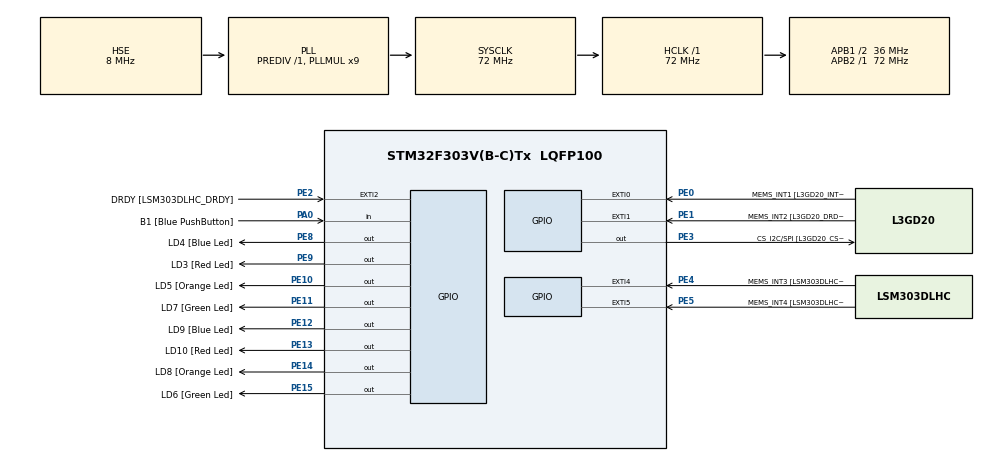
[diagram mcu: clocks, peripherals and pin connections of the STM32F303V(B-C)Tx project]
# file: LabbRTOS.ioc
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FREERTOS.Tasks01=defaultTask,0,128,StartDefaultTask,Default,NULL,Dynamic,NULL,NULL;Blink1,0,128,startBlink1,Default,NULL,Dynamic,NULL,NULL;Blink2,0,128,startBlink2,Default,NULL,Dynamic,NULL,NULL;Trigger,0,128,StartTrigger,Default,NULL,Dynamic,NULL,NULL
FREERTOS.configTOTAL_HEAP_SIZE=10240
Mcu.Family=STM32F3
Mcu.Name=STM32F303V(B-C)Tx
Mcu.Package=LQFP100
NVIC.PriorityGroup=NVIC_PRIORITYGROUP_4
NVIC.TIM1_UP_TIM16_IRQn=true\:0\:0\:false\:false\:true\:false\:false
NVIC.TimeBase=TIM1_UP_TIM16_IRQn
NVIC.TimeBaseIP=TIM1
PA0.GPIO_Label=B1 [Blue PushButton]
PA0.GPIO_Mode=GPIO_MODE_INPUT
PA0.GPIO_PuPd=GPIO_NOPULL
PA0.Signal=GPIO_Input
PA11.GPIO_Label=DM
PA11.Signal=USB_DM
PA12.GPIO_Label=DP
PA12.Signal=USB_DP
PA13.GPIO_Label=SWDIO
PA13.Signal=SYS_JTMS-SWDIO
PA14.GPIO_Label=SWCLK
PA14.Signal=SYS_JTCK-SWCLK
PA5.GPIO_Label=SPI1_SCK [L3GD20_SCL/SPC]
PA5.GPIO_Mode=GPIO_MODE_AF_PP
PA5.GPIO_PuPd=GPIO_NOPULL
PA5.GPIO_Speed=GPIO_SPEED_FREQ_LOW
PA5.Signal=SPI1_SCK
PA6.GPIO_Label=SPI1_MISO [L3GD20_SA0/SDO]
PA6.GPIO_Mode=GPIO_MODE_AF_PP
PA6.GPIO_PuPd=GPIO_NOPULL
PA6.GPIO_Speed=GPIO_SPEED_FREQ_LOW
PA6.Signal=SPI1_MISO
PA7.GPIO_Label=SPI1_MISO [L3GD20_SDA/SDI/SDO]
PA7.GPIO_Mode=GPIO_MODE_AF_PP
PA7.GPIO_PuPd=GPIO_NOPULL
PA7.GPIO_Speed=GPIO_SPEED_FREQ_LOW
PA7.Signal=SPI1_MOSI
PB3.GPIO_Label=SWO
PB3.Signal=SYS_JTDO-TRACESWO
PB6.GPIO_FM6=__NULL
PB6.GPIO_Label=I2C1_SCL [LSM303DLHC_SCL]
PB6.GPIO_Mode=GPIO_MODE_AF_OD
PB6.GPIO_PuPd=GPIO_NOPULL
PB6.GPIO_Speed=GPIO_SPEED_FREQ_LOW
PB6.Signal=I2C1_SCL
PB7.GPIO_FM7=__NULL
PB7.GPIO_Label=I2C1_SDA [LSM303DLHC_SDA]
PB7.GPIO_Mode=GPIO_MODE_AF_OD
PB7.GPIO_PuPd=GPIO_NOPULL
PB7.GPIO_Speed=GPIO_SPEED_FREQ_LOW
PB7.Signal=I2C1_SDA
PC14-OSC32_IN.GPIO_Label=OSC32_IN
PC14-OSC32_IN.Signal=RCC_OSC32_IN
PC15-OSC32_OUT.GPIO_Label=OSC32_OUT
PC15-OSC32_OUT.Signal=RCC_OSC32_OUT
PE0.GPIO_Label=MEMS_INT1 [L3GD20_INT1]
PE0.GPIO_ModeDefaultEXTI=GPIO_MODE_EVT_RISING
PE0.GPIO_PuPd=GPIO_NOPULL
PE0.Signal=GPXTI0
PE1.GPIO_Label=MEMS_INT2 [L3GD20_DRDY/INT2]
PE1.GPIO_ModeDefaultEXTI=GPIO_MODE_EVT_RISING
PE1.GPIO_PuPd=GPIO_NOPULL
PE1.Signal=GPXTI1
PE10.GPIO_Label=LD5 [Orange Led]
PE10.GPIO_ModeDefaultOutputPP=GPIO_MODE_OUTPUT_PP
PE10.GPIO_PuPd=GPIO_NOPULL
PE10.GPIO_Speed=GPIO_SPEED_FREQ_LOW
PE10.Signal=GPIO_Output
PE11.GPIO_Label=LD7 [Green Led]
PE11.GPIO_ModeDefaultOutputPP=GPIO_MODE_OUTPUT_PP
PE11.GPIO_PuPd=GPIO_NOPULL
PE11.GPIO_Speed=GPIO_SPEED_FREQ_LOW
PE11.Signal=GPIO_Output
PE12.GPIO_Label=LD9 [Blue Led]
PE12.GPIO_ModeDefaultOutputPP=GPIO_MODE_OUTPUT_PP
PE12.GPIO_PuPd=GPIO_NOPULL
PE12.GPIO_Speed=GPIO_SPEED_FREQ_LOW
PE12.Signal=GPIO_Output
PE13.GPIO_Label=LD10 [Red Led]
PE13.GPIO_ModeDefaultOutputPP=GPIO_MODE_OUTPUT_PP
PE13.GPIO_PuPd=GPIO_NOPULL
PE13.GPIO_Speed=GPIO_SPEED_FREQ_LOW
PE13.Signal=GPIO_Output
PE14.GPIO_Label=LD8 [Orange Led]
PE14.GPIO_ModeDefaultOutputPP=GPIO_MODE_OUTPUT_PP
PE14.GPIO_PuPd=GPIO_NOPULL
PE14.GPIO_Speed=GPIO_SPEED_FREQ_LOW
PE14.Signal=GPIO_Output
PE15.GPIO_Label=LD6 [Green Led]
PE15.GPIO_ModeDefaultOutputPP=GPIO_MODE_OUTPUT_PP
PE15.GPIO_PuPd=GPIO_NOPULL
PE15.GPIO_Speed=GPIO_SPEED_FREQ_LOW
PE15.Signal=GPIO_Output
PE2.GPIO_Label=DRDY [LSM303DLHC_DRDY]
PE2.GPIO_ModeDefaultEXTI=GPIO_MODE_EVT_RISING
PE2.GPIO_PuPd=GPIO_NOPULL
PE2.Signal=GPXTI2
PE3.GPIO_Label=CS_I2C/SPI [L3GD20_CS_I2C/SPI]
PE3.GPIO_ModeDefaultOutputPP=GPIO_MODE_OUTPUT_PP
PE3.GPIO_PuPd=GPIO_NOPULL
PE3.GPIO_Speed=GPIO_SPEED_FREQ_LOW
PE3.Signal=GPIO_Output
PE4.GPIO_Label=MEMS_INT3 [LSM303DLHC_INT1]
PE4.GPIO_ModeDefaultEXTI=GPIO_MODE_EVT_RISING
PE4.GPIO_PuPd=GPIO_NOPULL
PE4.Signal=GPXTI4
PE5.GPIO_Label=MEMS_INT4 [LSM303DLHC_INT2]
PE5.GPIO_ModeDefaultEXTI=GPIO_MODE_EVT_RISING
PE5.GPIO_PuPd=GPIO_NOPULL
PE5.Signal=GPXTI5
PE8.GPIO_Label=LD4 [Blue Led]
PE8.GPIO_ModeDefaultOutputPP=GPIO_MODE_OUTPUT_PP
PE8.GPIO_PuPd=GPIO_NOPULL
PE8.GPIO_Speed=GPIO_SPEED_FREQ_LOW
PE8.Signal=GPIO_Output
PE9.GPIO_Label=LD3 [Red Led]
PE9.GPIO_ModeDefaultOutputPP=GPIO_MODE_OUTPUT_PP
PE9.GPIO_PuPd=GPIO_NOPULL
PE9.GPIO_Speed=GPIO_SPEED_FREQ_LOW
PE9.Signal=GPIO_Output
PF0-OSC_IN.GPIO_Label=OSC_IN
PF0-OSC_IN.Mode=HSE-External-Oscillator
PF0-OSC_IN.Signal=RCC_OSC_IN
PF1-OSC_OUT.GPIO_Label=OSC_OUT
PF1-OSC_OUT.Mode=HSE-External-Oscillator
PF1-OSC_OUT.Signal=RCC_OSC_OUT
ProjectManager.HeapSize=0x200
ProjectManager.StackSize=0x400
ProjectManager.TargetToolchain=EWARM
RCC.AHBFreq_Value=72000000
RCC.APB1CLKDivider=RCC_HCLK_DIV2
RCC.APB1Freq_Value=36000000
RCC.APB1TimFreq_Value=72000000
RCC.APB2Freq_Value=72000000
RCC.APB2TimFreq_Value=72000000
RCC.CortexFreq_Value=72000000
RCC.HCLKFreq_Value=72000000
RCC.HSE_VALUE=8000000
RCC.HSI_VALUE=8000000
RCC.LSE_VALUE=32768
RCC.PLLMUL=RCC_PLL_MUL9
RCC.PLLSourceVirtual=RCC_PLLSOURCE_HSE
RCC.SYSCLKFreq_VALUE=72000000
RCC.SYSCLKSourceVirtual=RCC_SYSCLKSOURCE_PLLCLK
RCC.USBFreq_Value=72000000
VP_FREERTOS_VS_ENABLE.Mode=Enabled
VP_SYS_VS_tim1.Mode=TIM1
board=STM32F3DISCOVERY

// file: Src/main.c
/**
  ******************************************************************************
  * File Name          : main.c
  * Description        : Main program body
  ******************************************************************************
  * This notice applies to any and all portions of this file
  * that are not between comment pairs USER CODE BEGIN and
  * USER CODE END. Other portions of this file, whether
  * inserted by the user or by software development tools
  * are owned by their respective copyright owners.
  *
  * Copyright (c) 2018 STMicroelectronics International N.V.
  * All rights reserved.
  *
  * Redistribution and use in source and binary forms, with or without
  * modification, are permitted, provided that the following conditions are met:
  *
  * 1. Redistribution of source code must retain the above copyright notice,
  *    this list of conditions and the following disclaimer.
  * 2. Redistributions in binary form must reproduce the above copyright notice,
  *    this list of conditions and the following disclaimer in the documentation
  *    and/or other materials provided with the distribution.
  * 3. Neither the name of STMicroelectronics nor the names of other
  *    contributors to this software may be used to endorse or promote products
  *    derived from this software without specific written permission.
  * 4. This software, including modifications and/or derivative works of this
  *    software, must execute solely and exclusively on microcontroller or
  *    microprocessor devices manufactured by or for STMicroelectronics.
  * 5. Redistribution and use of this software other than as permitted under
  *    this license is void and will automatically terminate your rights under
  *    this license.
  *
  * THIS SOFTWARE IS PROVIDED BY STMICROELECTRONICS AND CONTRIBUTORS "AS IS"
  * AND ANY EXPRESS, IMPLIED OR STATUTORY WARRANTIES, INCLUDING, BUT NOT
  * LIMITED TO, THE IMPLIED WARRANTIES OF MERCHANTABILITY, FITNESS FOR A
  * PARTICULAR PURPOSE AND NON-INFRINGEMENT OF THIRD PARTY INTELLECTUAL PROPERTY
  * RIGHTS ARE DISCLAIMED TO THE FULLEST EXTENT PERMITTED BY LAW. IN NO EVENT
  * SHALL STMICROELECTRONICS OR CONTRIBUTORS BE LIABLE FOR ANY DIRECT, INDIRECT,
  * INCIDENTAL, SPECIAL, EXEMPLARY, OR CONSEQUENTIAL DAMAGES (INCLUDING, BUT NOT
  * LIMITED TO, PROCUREMENT OF SUBSTITUTE GOODS OR SERVICES; LOSS OF USE, DATA,
  * OR PROFITS; OR BUSINESS INTERRUPTION) HOWEVER CAUSED AND ON ANY THEORY OF
  * LIABILITY, WHETHER IN CONTRACT, STRICT LIABILITY, OR TORT (INCLUDING
  * NEGLIGENCE OR OTHERWISE) ARISING IN ANY WAY OUT OF THE USE OF THIS SOFTWARE,
  * EVEN IF ADVISED OF THE POSSIBILITY OF SUCH DAMAGE.
  *
  ******************************************************************************
  */

#include "main.h"
#include "stm32f3xx_hal.h"
#include "cmsis_os.h"
#include "gpio.h"

/* USER CODE BEGIN PV */
/* Private variables ---------------------------------------------------------*/

/* USER CODE END PV */

void SystemClock_Config(void);
void MX_FREERTOS_Init(void);

/* USER CODE BEGIN PFP */
/* Private function prototypes -----------------------------------------------*/

/* USER CODE END PFP */

int main(void)
{

  /* MCU Configuration----------------------------------------------------------*/

  /* Reset of all peripherals, Initializes the Flash interface and the Systick. */
  HAL_Init();

  /* Configure the system clock */
  SystemClock_Config();

  /* Initialize all configured peripherals */
  MX_GPIO_Init();

  /* Call init function for freertos objects (in freertos.c) */
  MX_FREERTOS_Init();

  /* Start scheduler */
  osKernelStart();

  /* We should never get here as control is now taken by the scheduler */

  /* Infinite loop */
  while (1)
  {

  }

}

/** System Clock Configuration
*/
void SystemClock_Config(void)
{

  RCC_OscInitTypeDef RCC_OscInitStruct;
  RCC_ClkInitTypeDef RCC_ClkInitStruct;

    /**Initializes the CPU, AHB and APB busses clocks
    */
  RCC_OscInitStruct.OscillatorType = RCC_OSCILLATORTYPE_HSE;
  RCC_OscInitStruct.HSEState = RCC_HSE_ON;
  RCC_OscInitStruct.HSEPredivValue = RCC_HSE_PREDIV_DIV1;
  RCC_OscInitStruct.HSIState = RCC_HSI_ON;
  RCC_OscInitStruct.PLL.PLLState = RCC_PLL_ON;
  RCC_OscInitStruct.PLL.PLLSource = RCC_PLLSOURCE_HSE;
  RCC_OscInitStruct.PLL.PLLMUL = RCC_PLL_MUL9;
  if (HAL_RCC_OscConfig(&RCC_OscInitStruct) != HAL_OK)
  {
    _Error_Handler(__FILE__, __LINE__);
  }

    /**Initializes the CPU, AHB and APB busses clocks
    */
  RCC_ClkInitStruct.ClockType = RCC_CLOCKTYPE_HCLK|RCC_CLOCKTYPE_SYSCLK
                              |RCC_CLOCKTYPE_PCLK1|RCC_CLOCKTYPE_PCLK2;
  RCC_ClkInitStruct.SYSCLKSource = RCC_SYSCLKSOURCE_PLLCLK;
  RCC_ClkInitStruct.AHBCLKDivider = RCC_SYSCLK_DIV1;
  RCC_ClkInitStruct.APB1CLKDivider = RCC_HCLK_DIV2;
  RCC_ClkInitStruct.APB2CLKDivider = RCC_HCLK_DIV1;

  if (HAL_RCC_ClockConfig(&RCC_ClkInitStruct, FLASH_LATENCY_2) != HAL_OK)
  {
    _Error_Handler(__FILE__, __LINE__);
  }

    /**Configure the Systick interrupt time
    */
  HAL_SYSTICK_Config(HAL_RCC_GetHCLKFreq()/1000);

    /**Configure the Systick
    */
  HAL_SYSTICK_CLKSourceConfig(SYSTICK_CLKSOURCE_HCLK);

  /* SysTick_IRQn interrupt configuration */
  HAL_NVIC_SetPriority(SysTick_IRQn, 15, 0);
}

void HAL_TIM_PeriodElapsedCallback(TIM_HandleTypeDef *htim)
{
  if (htim->Instance == TIM1) {
    HAL_IncTick();
  }
}

void _Error_Handler(char * file, int line)
{
  while(1)
  {
  }
}

/************************ (C) COPYRIGHT STMicroelectronics *****END OF FILE****/

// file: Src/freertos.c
/**
******************************************************************************
* File Name          : freertos.c
* Description        : Code for freertos applications
******************************************************************************
* This notice applies to any and all portions of this file
* that are not between comment pairs USER CODE BEGIN and
* USER CODE END. Other portions of this file, whether
* inserted by the user or by software development tools
* are owned by their respective copyright owners.
*
* Copyright (c) 2018 STMicroelectronics International N.V.
* All rights reserved.
*
* Redistribution and use in source and binary forms, with or without
* modification, are permitted, provided that the following conditions are met:
*
* 1. Redistribution of source code must retain the above copyright notice,
*    this list of conditions and the following disclaimer.
* 2. Redistributions in binary form must reproduce the above copyright notice,
*    this list of conditions and the following disclaimer in the documentation
*    and/or other materials provided with the distribution.
* 3. Neither the name of STMicroelectronics nor the names of other
*    contributors to this software may be used to endorse or promote products
*    derived from this software without specific written permission.
* 4. This software, including modifications and/or derivative works of this
*    software, must execute solely and exclusively on microcontroller or
*    microprocessor devices manufactured by or for STMicroelectronics.
* 5. Redistribution and use of this software other than as permitted under
*    this license is void and will automatically terminate your rights under
*    this license.
*
* THIS SOFTWARE IS PROVIDED BY STMICROELECTRONICS AND CONTRIBUTORS "AS IS"
* AND ANY EXPRESS, IMPLIED OR STATUTORY WARRANTIES, INCLUDING, BUT NOT
* LIMITED TO, THE IMPLIED WARRANTIES OF MERCHANTABILITY, FITNESS FOR A
* PARTICULAR PURPOSE AND NON-INFRINGEMENT OF THIRD PARTY INTELLECTUAL PROPERTY
* RIGHTS ARE DISCLAIMED TO THE FULLEST EXTENT PERMITTED BY LAW. IN NO EVENT
* SHALL STMICROELECTRONICS OR CONTRIBUTORS BE LIABLE FOR ANY DIRECT, INDIRECT,
* INCIDENTAL, SPECIAL, EXEMPLARY, OR CONSEQUENTIAL DAMAGES (INCLUDING, BUT NOT
* LIMITED TO, PROCUREMENT OF SUBSTITUTE GOODS OR SERVICES; LOSS OF USE, DATA,
* OR PROFITS; OR BUSINESS INTERRUPTION) HOWEVER CAUSED AND ON ANY THEORY OF
* LIABILITY, WHETHER IN CONTRACT, STRICT LIABILITY, OR TORT (INCLUDING
* NEGLIGENCE OR OTHERWISE) ARISING IN ANY WAY OUT OF THE USE OF THIS SOFTWARE,
* EVEN IF ADVISED OF THE POSSIBILITY OF SUCH DAMAGE.
*
******************************************************************************
*/

#include "FreeRTOS.h"
#include "task.h"
#include "cmsis_os.h"

/* USER CODE BEGIN Includes */
#include "stm32f3xx_hal.h"
int counter2;
/* USER CODE END Includes */

osThreadId defaultTaskHandle;
osThreadId Blink1Handle;
osThreadId Blink2Handle;

/* USER CODE BEGIN Variables */
osSemaphoreId mySemaphore_id;
/* USER CODE END Variables */

void StartDefaultTask(void const * argument);
void startBlink1(void const * argument);
void startBlink2(void const * argument);

void MX_FREERTOS_Init(void); /* (MISRA C 2004 rule 8.1) */

/* Hook prototypes */

/* Init FreeRTOS */

void MX_FREERTOS_Init(void) {

  /* USER CODE BEGIN RTOS_SEMAPHORES */
  /* add semaphores, ... */
  osSemaphoreDef(mySemaphore);
  mySemaphore_id = osSemaphoreCreate(osSemaphore(mySemaphore), 1);
  /* USER CODE END RTOS_SEMAPHORES */

  /* Create the thread(s) */
  /* definition and creation of defaultTask */
  osThreadDef(defaultTask, StartDefaultTask, osPriorityNormal, 0, 128);
  defaultTaskHandle = osThreadCreate(osThread(defaultTask), NULL);

  /* definition and creation of Blink1 */
  osThreadDef(Blink1, startBlink1, osPriorityNormal, 0, 128);
  Blink1Handle = osThreadCreate(osThread(Blink1), NULL);

  /* definition and creation of Blink2 */
  osThreadDef(Blink2, startBlink2, osPriorityNormal, 0, 128);
  Blink2Handle = osThreadCreate(osThread(Blink2), NULL);

}

/* StartDefaultTask function */
void StartDefaultTask(void const * argument)
{

  for(;;)
  {
    osDelay(1);
  }
}

/* startBlink1 function */
void startBlink1(void const * argument)
{
  /* USER CODE BEGIN startBlink1 */
  /* Infinite loop */
  for(;;)
  {
    static int counter1 = 0;
    if (xSemaphoreTake(mySemaphore_id, 10000) == pdTRUE) {
      HAL_GPIO_TogglePin(GPIOE, GPIO_PIN_11);   // Blinka PE11
      counter1 ++;
      printf("Blink1: %d\n", counter1);
    }

    xSemaphoreGive(mySemaphore_id);
    vTaskDelay(500);

  }
  /* USER CODE END startBlink1 */
}

/* startBlink2 function */
void startBlink2(void const * argument)
{
  /* USER CODE BEGIN startBlink2 */
  /* Infinite loop */
  for(;;)
  {

    if (counter2 % 2 != 0) {
      xSemaphoreTake(mySemaphore_id, osWaitForever);
    } else xSemaphoreGive(mySemaphore_id);

    HAL_GPIO_TogglePin(GPIOE, GPIO_PIN_12);   // Blinka PE11
    counter2 ++;
    printf("Blink2: %d\n", counter2);
    vTaskDelay(5000);
  }
  /* USER CODE END startBlink2 */
}

/************************ (C) COPYRIGHT STMicroelectronics *****END OF FILE****/
